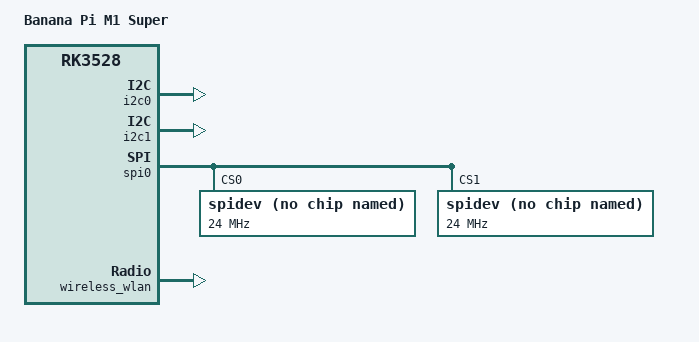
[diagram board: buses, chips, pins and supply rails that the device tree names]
// SPDX-License-Identifier: (GPL-2.0+ OR MIT)

/dts-v1/;

#include "rk3528-armsom-sige1.dts"

/ {
	model = "Banana Pi M1 Super";
	compatible = "bananapi,bpi-m1-super", "armsom,sige1", "rockchip,rk3528";
};

/* 這些匯流排腳位同時出現在官方原理圖與 40-pin 定義。 */
&i2c0 {
	status = "okay";
};

&i2c1 {
	status = "okay";
};

&spi0 {
	status = "okay";

	spidev@0 {
		compatible = "rockchip,spidev";
		reg = <0>;
		spi-max-frequency = <24000000>;
	};

	spidev@1 {
		compatible = "rockchip,spidev";
		reg = <1>;
		spi-max-frequency = <24000000>;
	};
};

/* V1.2 原理圖採 AP6275S 類 SDIO 模組；實際量產料號仍須實機核對。 */
&wireless_wlan {
	wifi_chip_type = "ap6275s";
};
